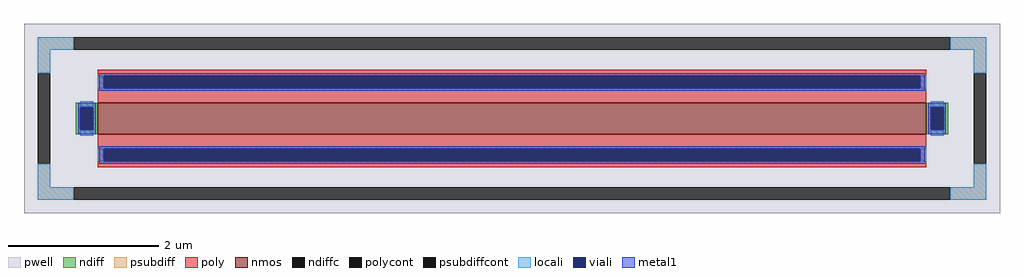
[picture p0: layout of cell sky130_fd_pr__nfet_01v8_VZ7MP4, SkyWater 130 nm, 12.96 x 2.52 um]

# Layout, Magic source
magic
tech sky130A
<< pwell >>
rect -648 -126 648 126
<< nmos >>
rect -550 -21 550 21
<< ndiff >>
rect -579 15 -550 21
rect -579 -15 -573 15
rect -556 -15 -550 15
rect -579 -21 -550 -15
rect 550 15 579 21
rect 550 -15 556 15
rect 573 -15 579 15
rect 550 -21 579 -15
<< ndiffc >>
rect -573 -15 -556 15
rect 556 -15 573 15
<< psubdiff >>
rect -630 91 -582 108
rect 582 91 630 108
rect -630 60 -613 91
rect 613 60 630 91
rect -630 -91 -613 -60
rect 613 -91 630 -60
rect -630 -108 -582 -91
rect 582 -108 630 -91
<< psubdiffcont >>
rect -582 91 582 108
rect -630 -60 -613 60
rect 613 -60 630 60
rect -582 -108 582 -91
<< poly >>
rect -550 57 550 65
rect -550 40 -542 57
rect 542 40 550 57
rect -550 21 550 40
rect -550 -40 550 -21
rect -550 -57 -542 -40
rect 542 -57 550 -40
rect -550 -65 550 -57
<< polycont >>
rect -542 40 542 57
rect -542 -57 542 -40
<< locali >>
rect -630 91 -582 108
rect 582 91 630 108
rect -630 60 -613 91
rect 613 60 630 91
rect -550 40 -542 57
rect 542 40 550 57
rect -573 15 -556 23
rect -573 -23 -556 -15
rect 556 15 573 23
rect 556 -23 573 -15
rect -550 -57 -542 -40
rect 542 -57 550 -40
rect -630 -91 -613 -60
rect 613 -91 630 -60
rect -630 -108 -582 -91
rect 582 -108 630 -91
<< viali >>
rect -542 40 542 57
rect -573 -15 -556 15
rect 556 -15 573 15
rect -542 -57 542 -40
<< metal1 >>
rect -548 57 548 60
rect -548 40 -542 57
rect 542 40 548 57
rect -548 37 548 40
rect -576 15 -553 21
rect -576 -15 -573 15
rect -556 -15 -553 15
rect -576 -21 -553 -15
rect 553 15 576 21
rect 553 -15 556 15
rect 573 -15 576 15
rect 553 -21 576 -15
rect -548 -40 548 -37
rect -548 -57 -542 -40
rect 542 -57 548 -40
rect -548 -60 548 -57
<< properties >>
string FIXED_BBOX -621 -99 621 99
string gencell sky130_fd_pr__nfet_01v8
string library sky130
string parameters w 0.42 l 11.0 m 1 nf 1 diffcov 100 polycov 100 guard 1 glc 1 grc 1 gtc 1 gbc 1 tbcov 100 rlcov 100 topc 1 botc 1 poverlap 0 doverlap 1 lmin 0.15 wmin 0.42 compatible {sky130_fd_pr__nfet_01v8 sky130_fd_pr__nfet_01v8_lvt  sky130_fd_bs_flash__special_sonosfet_star  sky130_fd_pr__nfet_g5v0d10v5 sky130_fd_pr__nfet_05v0_nvt  sky130_fd_pr__nfet_03v3_nvt} full_metal 1 viasrc 100 viadrn 100 viagate 100 viagb 0 viagr 0 viagl 0 viagt 0
<< end >>
